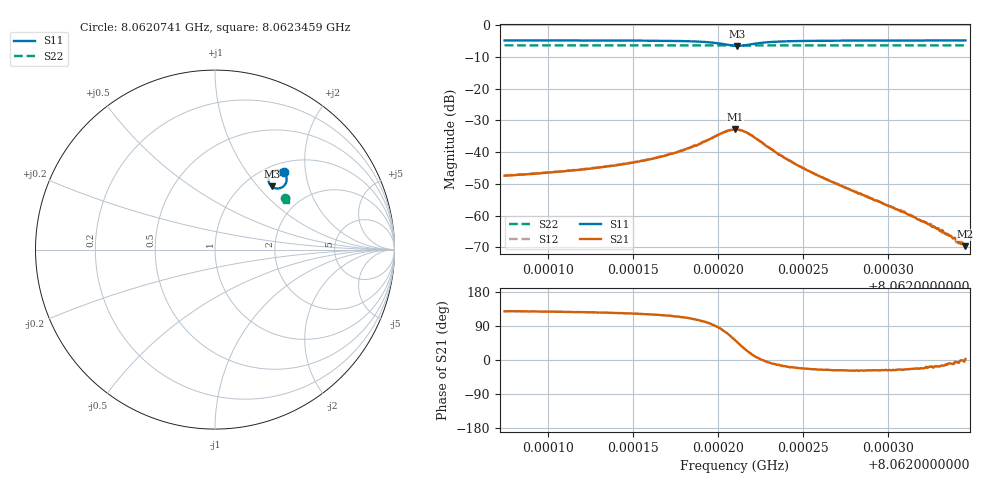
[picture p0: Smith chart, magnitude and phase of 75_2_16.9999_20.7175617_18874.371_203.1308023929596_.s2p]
#  HZ  S  RI  R  50.00
! Rohde & Schwarz Vector Network Analyzer
! Rohde-Schwarz,ZNB20-2Port,1311601062101988,3.16
! Created: UTC 3/20/2024, 10:55:23 PM
! freq[Hz]  re:S11  im:S11  re:S21  im:S21  re:S12  im:S12  re:S22  im:S22
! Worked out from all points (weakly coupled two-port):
!   401 points, 8.0620741 GHz to 8.0623459 GHz, reference 50 ohm
!   highest |S21| = -32.85 dB at 8.06221 GHz (marker M1); lowest = -69.7 dB at 8.0623459 GHz (marker M2)
!   lowest |S11| = -6.5 dB at 8.0622114 GHz (marker M3), VSWR 2.79, Z = 65.6 + j59.4 ohm
!   |S11| at or under -10 dB: nowhere
!   |S22| runs from -6.4 to -6.3 dB; largest |S21 - S12| = 0.0017
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8.06207414e9  0.3821 0.4303  -0.00265 0.00333  -0.00247 0.0035  0.3884 0.286
8.06211965e9  0.3876 0.424  -0.00316 0.00429  -0.00292 0.00451  0.3898 0.2834
8.06214886e9  0.3924 0.4166  -0.00368 0.00568  -0.00331 0.00598  0.3909 0.282
8.06216517e9  0.3959 0.4089  -0.00402 0.00726  -0.00362 0.00764  0.3913 0.2806
8.06218283e9  0.3991 0.392  -0.00398 0.0108  -0.0033 0.0111  0.3919 0.2791
8.06219505e9  0.393 0.3668  -0.00181 0.0159  -0.000709 0.0162  0.3917 0.2777
8.06220456e9  0.3604 0.3415  0.00613 0.0201  0.00762 0.02  0.39 0.2766
8.06221e9  0.3244 0.3461  0.0138 0.0181  0.0151 0.0173  0.3887 0.2771
8.06221136e9  0.3159 0.3518  0.0155 0.0166  0.0167 0.0156  0.3885 0.2773
8.06221679e9  0.2977 0.3854  0.0185 0.00868  0.0191 0.00752  0.3885 0.2789
8.06222766e9  0.3167 0.4311  0.013 -0.000715  0.013 -0.00145  0.3905 0.2799
8.06223989e9  0.3408 0.4413  0.00755 -0.00225  0.00753 -0.00281  0.392 0.2794
8.06225551e9  0.3569 0.4412  0.00432 -0.00194  0.00423 -0.00218  0.3931 0.2785
8.06227793e9  0.368 0.438  0.00228 -0.00119  0.00216 -0.00133  0.3942 0.2771
8.06230103e9  0.3741 0.4351  0.00125 -0.000616  0.00124 -0.000703  0.3952 0.2759
8.06230918e9  0.3759 0.4342  0.00103 -0.000506  0.00101 -0.000567  0.3955 0.2754
8.06232616e9  0.3787 0.4325  0.000634 -0.000191  0.000642 -0.000273  0.396 0.2744
8.0623282e9  0.3788 0.4324  0.000621 -0.000185  0.000596 -0.000212  0.3961 0.2745
8.06233839e9  0.3803 0.4314  0.00043 -8.03e-05  0.000457 -6.68e-05  0.3964 0.2738
8.06234178e9  0.3807 0.431  0.000363 -4.88e-05  0.0004 -9.59e-05  0.3966 0.2737
8.06234382e9  0.381 0.4309  0.000375 -3.6e-06  0.000352 -1.58e-05  0.3966 0.2736
8.06234586e9  0.3812 0.4306  0.000329 1.52e-05  0.000364 1.3e-05  0.3968 0.2736
